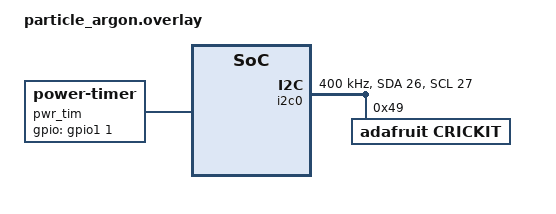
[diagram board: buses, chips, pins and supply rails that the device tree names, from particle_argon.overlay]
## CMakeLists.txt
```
# SPDX-License-Identifier: Apache-2.0

cmake_minimum_required(VERSION 3.13.1)
find_package(Zephyr REQUIRED HINTS $ENV{ZEPHYR_BASE})
project(server)

target_sources(app PRIVATE 
    src/main.c
)
```

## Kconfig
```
###############################################################
# @file apps/server/Kconfig
# @author Lachlan Smith - s4482220
# @date 08032021
# @brief The Methane Project
###############################################################

source "Kconfig.zephyr"
```

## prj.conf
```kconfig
###############################################################
# @file apps/p3/BASE/prj.conf
# @author Lachlan Smith - s4482220
# @date 08032021
# @brief BASE prj.conf
###############################################################
CONFIG_LOG=y

# SEGGER configuration
CONFIG_USE_SEGGER_RTT=y
CONFIG_RTT_CONSOLE=y
CONFIG_CBPRINTF_FP_SUPPORT=y
CONFIG_NEWLIB_LIBC=y

# CRICKIT configuration
CONFIG_SENSOR=y
CONFIG_I2C=y
CONFIG_SHIELD_CRICKIT=y
```

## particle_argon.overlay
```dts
&i2c0 { /* feather I2C0 */
    compatible = "nordic,nrf-twim";  // this makes the bus an I2C bus
    status = "okay";
    clock-frequency = <I2C_BITRATE_FAST>;
    sda-pin = <26>;
    scl-pin = <27>;

    crickit: crickit@49 {
        compatible = "adafruit,crickit";
        reg = <0x49>;
        label = "CRICKIT";
    };
};

/ {
    pwr_tim: pwr-tim-ctrl {
		compatible = "power-timer";
		gpios = <&gpio1 1 GPIO_ACTIVE_HIGH>;
	};

    aliases {
		pwr = &pwr_tim;
	};
};
```

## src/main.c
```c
/**
***************************************************************
* @file apps/p3/MOBILE/src/main.c
* @author Lachlan Smith - s4482220
* @date 08032021
* @brief Practical 3
*************************************************************** */

/* Includes --------------------------------------------------- */

#include <zephyr.h>
#include <device.h>
#include <sys/printk.h>
#include <math.h>

#include <logging/log.h>
#include <drivers/gpio.h>
#include <drivers/shields/crickit.h>

/* Typedefs --------------------------------------------------- */

typedef struct {

    double volt_out;
    double volt_ref;

} methane_sensor_t;

/* Defines ---------------------------------------------------- */

#define PWR_NODE                    DT_ALIAS(pwr)

#define PWR_LABEL                   DT_GPIO_LABEL(PWR_NODE, gpios)
#define PWR_PIN                     DT_GPIO_PIN(PWR_NODE, gpios)
#define PWR_FLAGS                   DT_GPIO_FLAGS(PWR_NODE, gpios)

#define VOLT_OUT_SIGNAL             CRICKIT_SIGNAL1
#define VOLT_REF_SIGNAL             CRICKIT_SIGNAL2
#define PUMP_CHANNEL1               CRICKIT_MOTOR_A1
#define PUMP_CHANNEL2               CRICKIT_MOTOR_A2
#define VALUE_CHANNEL1              CRICKIT_MOTOR_B1
#define VALUE_CHANNEL2              CRICKIT_MOTOR_B2

#define M0                          (-2.969362296f)
#define M1                          (-2.321928095f)
#define M2                          (-2.40942084f)
#define C0                          (3.893867119f)
#define C1                          (3.698970004f)
#define C2                          (3.698970004f)
#define VCC                         (5.0f)

#define BREAK0                      (2.0f)
#define BREAK1                      (1.0f)
#define BREAK2                      (0.75f)

/* Macros ----------------------------------------------------- */

/* Variables -------------------------------------------------- */

/* Prototypes ------------------------------------------------ */

LOG_MODULE_REGISTER(app, CONFIG_LOG_DEFAULT_LEVEL);

int pwr_timer_init(const struct device *dev) {

    int err;

    err = gpio_pin_configure(dev, PWR_PIN, GPIO_OUTPUT_INACTIVE);
    if (err) {
        LOG_ERR("failed configure pwr pin");
        return;
    }

    return 0;
}

static uint32_t convert_voltage_concentration(methane_sensor_t *sensor) {

    float RsRo = ((VCC / sensor->volt_out) - 1) / ((VCC / sensor->volt_ref) - 1);

    float logRsRo = log10(RsRo);
    float logC = 0.0f;

    if (RsRo > BREAK0) {

        logC = M0 * logRsRo + C0;
    } else if (RsRo > BREAK1) {

        logC = M1 * logRsRo + C1;
    } else {

        logC = M2 * logRsRo + C2;
    }

    float C = pow(10.0f, logC);

    return (uint32_t)C;
}

static float convert_voltage_sample(int16_t raw) {

    double val = (double)((double)(raw) / 310.3f);

    return val;

}

int methane_sample_fetch(const struct device *dev, methane_sensor_t *sensor) {

    int err;
    const struct crickit_api *crickit = dev->api;

    uint16_t val[1];

    err = crickit->analog_read(dev, VOLT_OUT_SIGNAL, val);
    if (err) {
        LOG_ERR("failed fetch methane sensor voltage out (err %d)", err);
        return err;
    }

    sensor->volt_out = convert_voltage_sample(val[0]);

    err = crickit->analog_read(dev, VOLT_REF_SIGNAL, val);
    if (err) {
        LOG_ERR("failed fetch methane sensor voltage ref (err %d)", err);
        return err;
    }

    sensor->volt_ref = convert_voltage_sample(val[0]);

    return 0;
}

int power_off(const struct device *dev) {
    
    int err;

    err = gpio_pin_set(dev, PWR_PIN, 1);
    if (err) {
        LOG_ERR("failed power off the device");
        return err;
    }

    return 0;
}

int turn_pump_on(const struct device *dev) {

    int err;

    const struct crickit_api *crickit = dev->api;

    err = crickit->analog_write(dev, PUMP_CHANNEL1, 65535);
    if (err) {
        LOG_ERR("failed turn on pump channel 1");
        return err;
    }

    err = crickit->analog_write(dev, PUMP_CHANNEL2, 0);
    if (err) {
        LOG_ERR("failed turn on pump channel 2");
        return err;
    }

    return 0;
}

int turn_pump_off(const struct device *dev) {

    int err;

    const struct crickit_api *crickit = dev->api;

    err = crickit->analog_write(dev, PUMP_CHANNEL1, 0);
    if (err) {
        LOG_ERR("failed turn off pump channel 1");
        return err;
    }

    err = crickit->analog_write(dev, PUMP_CHANNEL2, 0);
    if (err) {
        LOG_ERR("failed turn off pump channel 2");
        return err;
    }

    return 0;
}

int open_valve(const struct device *dev) {

    int err;

    const struct crickit_api *crickit = dev->api;

    err = crickit->analog_write(dev, VALUE_CHANNEL1, 65535);
    if (err) {
        LOG_ERR("failed open valve channel 1");
        return err;
    }

    err = crickit->analog_write(dev, VALUE_CHANNEL2, 0);
    if (err) {
        LOG_ERR("failed open valve channel 2");
        return err;
    }

    return 0;
}

int close_valve(const struct device *dev) {

    int err;

    const struct crickit_api *crickit = dev->api;

    err = crickit->analog_write(dev, VALUE_CHANNEL1, 0);
    if (err) {
        LOG_ERR("failed open valve channel 1");
        return err;
    }

    err = crickit->analog_write(dev, VALUE_CHANNEL2, 0);
    if (err) {
        LOG_ERR("failed open valve channel 2");
        return err;
    }

    return 0;
}

void main(void) {

	int err;

    // methane_sensor_t sensor;

    const struct device *crickit = device_get_binding(DT_LABEL(DT_INST(0, adafruit_crickit)));
    if (!crickit) {
        LOG_ERR("failed get CRICKIT shield binding");
        return;
    }

    k_sleep(K_MSEC(10));

    const struct device *pwr_bus = device_get_binding(PWR_LABEL);
    if (!pwr_bus) {
        LOG_ERR("failed get pwr gpio binding");
        return;
    }

	LOG_INF("Init ok");

    k_sleep(K_MSEC(5000));

    err = power_off(pwr_bus);
    if (err) {
        return;
    }

    // for (;;) {

    //     err = methane_sample_fetch(crickit, &sensor);
    //     if (err) {
    //         LOG_ERR("failed fetch voltage samples");
    //         return;
    //     }

    //     LOG_INF("out:%d ref:%d", (int)(sensor.volt_out * 100), (int)(sensor.volt_ref * 100));

    //     uint32_t ppm = convert_voltage_concentration(&sensor);
    //     LOG_INF("ppm: %d", ppm);

    //     // err = turn_pump_on(crickit);
    //     // if (err) {
    //     //     LOG_ERR("failed turn pump on");
    //     //     return;
    //     // }

    //     // err = open_vent(crickit);
    //     // if (err) {
    //     //     LOG_ERR("failed open vent");
    //     //     return;
    //     // }

    //     // k_sleep(K_MSEC(5000));

    //     // err = turn_pump_off(crickit);
    //     // if (err) {
    //     //     LOG_ERR("failed turn pump off");
    //     //     return;
    //     // }

    //     // err = close_vent(crickit);
    //     // if (err) {
    //     //     LOG_ERR("failed close vent");
    //     //     return;
    //     // }

    //     k_sleep(K_MSEC(5000));

    // }

    // for (;;) {

    //     err = turn_motor_on(crickit);
    //     if (err) {
    //         return;
    //     }

    //     k_sleep(K_MSEC(2500));

    //     err = turn_motor_off(crickit);
    //     if (err) {
    //         return;
    //     }

    //     k_sleep(K_MSEC(2500));

    // }

}
```

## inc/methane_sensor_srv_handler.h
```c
/**
***************************************************************
* @file apps/server/include/comp.h
* @author Lachlan Smith - s4482220
* @date 08032021
* @brief The Methane Project
*************************************************************** */

#ifndef BT_MESH_SENSOR_SRV_HANDLER_H__
#define BT_MESH_SENSOR_SRV_HANDLER_H__

#include <bluetooth/mesh.h>

const struct bt_mesh_comp *methane_sensor_srv_handler(void);

#endif /* BT_MESH_SENSOR_SRV_HANDLER_H__ */
```

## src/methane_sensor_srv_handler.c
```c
/**
***************************************************************
* @file apps/p3/MOBILE/src/main.c
* @author Lachlan Smith - s4482220
* @date 08032021
* @brief Practical 3
*************************************************************** */

/* Includes --------------------------------------------------- */

#include <zephyr.h>
#include <device.h>
#include <sys/printk.h>

/* Typedefs --------------------------------------------------- */

/* Defines ---------------------------------------------------- */

#include <zephyr.h>
#include <device.h>
#include <sys/printk.h>
#include <usb/usb_device.h>

#include <settings/settings.h>

#include <bluetooth/bluetooth.h>
#include <bluetooth/mesh/models.h>
#include <bluetooth/mesh.h>

/* Macros ----------------------------------------------------- */

/* Variables -------------------------------------------------- */

// static const struct bt_mesh_sensor_column columns[] = {
// 	{ { 0 }, { 20 } },
// 	{ { 20 }, { 25 } },
// 	{ { 25 }, { 30 } },
// 	{ { 30 }, { 100 } },
// };

static const struct device *crickit;
// static uint32_t tot_temp_samps;
// static uint32_t col_samps[ARRAY_SIZE(columns)];

/* Prototypes ------------------------------------------------ */

static int crickit_methane_sensor_voltage_get(struct bt_mesh_sensor *sensor,
			 struct bt_mesh_msg_ctx *ctx, struct sensor_value *rsp) {

	// int err;

	// sensor_sample_fetch(dev);

	// err = sensor_channel_get(dev, SENSOR_CHAN_DIE_TEMP, rsp);

	// if (err) {
	// 	printk("Error getting temperature sensor data (%d)\n", err);
	// 	return err;
	// }

	// for (int i = 0; i < ARRAY_SIZE(columns); ++i) {
	// 	if (bt_mesh_sensor_value_in_column(rsp, &columns[i])) {
	// 		col_samps[i]++;
	// 		break;
	// 	}
	// }

	// tot_temp_samps++;

	return 0;
}

static struct bt_mesh_sensor crickit_methane_sensor_voltage = {
	.type = &bt_mesh_sensor_avg_output_voltage,
	.get = crickit_methane_sensor_voltage_get,
};

static struct bt_mesh_sensor *const sensors[] = {
	&crickit_methane_sensor_voltage,
};

static struct bt_mesh_sensor_srv sensor_srv =
	BT_MESH_SENSOR_SRV_INIT(sensors, ARRAY_SIZE(sensors));

static bool attention;

static void attention_on(struct bt_mesh_model *mod)
{
	attention = true;
}

static void attention_off(struct bt_mesh_model *mod)
{
	/* Will stop rescheduling blink timer */
	attention = false;
}

static const struct bt_mesh_health_srv_cb health_srv_cb = {
	.attn_on = attention_on,
	.attn_off = attention_off,
};

static struct bt_mesh_health_srv health_srv = {
	.cb = &health_srv_cb,
};

BT_MESH_HEALTH_PUB_DEFINE(health_pub, 0);

static struct bt_mesh_elem elements[] = {
	BT_MESH_ELEM(1,
		     BT_MESH_MODEL_LIST(BT_MESH_MODEL_CFG_SRV,
					BT_MESH_MODEL_HEALTH_SRV(&health_srv, &health_pub),
					BT_MESH_MODEL_SENSOR_SRV(&sensor_srv)),
		     BT_MESH_MODEL_NONE),
};

static const struct bt_mesh_comp comp = {
	.cid = CONFIG_BT_COMPANY_ID,
	.elem = elements,
	.elem_count = ARRAY_SIZE(elements),
};

const struct bt_mesh_comp *methane_sensor_srv_handler(void) {

	crickit = device_get_binding(DT_LABEL(DT_INST(0, adafruit_crickit)));
	if (!crickit) {
		printk("failed get CRICKIT device\r\n");
	}

	return &comp;
}
```
